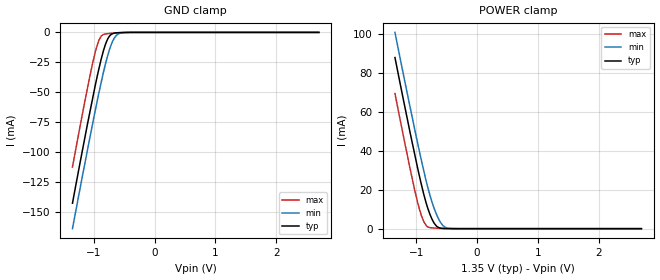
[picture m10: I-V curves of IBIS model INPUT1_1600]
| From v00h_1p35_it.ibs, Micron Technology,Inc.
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| MODEL INPUT1_1600 (Add/Cmd/Ctrl Input Model, 1333/1600Mbps)
[Model]   INPUT1_1600
Model_type   Input
Vinl = 540.000mV
Vinh = 810.000mV
|   typ   min   max
|C_comp   0.450pF   0.375pF   0.525pF
C_comp_power_clamp   0.2250pF   0.1875pF   0.2625pF
C_comp_gnd_clamp   0.2250pF   0.1875pF   0.2625pF
[Model Spec]
| Input threshold voltage corners
Vinl   0.5400V   0.5065V   0.5775V
Vinh   0.8100V   0.7765V   0.8475V
| Dynamic Overshoot Parameters from DDR3L Specification
|D_overshoot_ampl_h   0.40   NA   NA
|D_overshoot_ampl_l   0.40   NA   NA
|D_overshoot_area_h   0.33n   NA   NA
|D_overshoot_area_l   0.33n   NA   NA
[Receiver Thresholds]
Vth   =  0.675V
Vth_min  =  0.6615V
Vth_max  =  0.6885V
Vinh_ac  =  0.135V
Vinh_dc  =  0.090V
Vinl_ac  = -0.135V
Vinl_dc  = -0.090V
Tslew_ac =  5.000ns |Not specified, so set to high value
Threshold_sensitivity = 0.50
Reference_supply Power_clamp_ref
[Voltage Range]   1.3500V   1.2830V   1.4250V
[POWER Clamp Reference]   1.3500V   1.2830V   1.4250V
| Junction Temperature (Ambient temp is 35C typ, 95C min, -40C max)
[Temperature Range]   50.0   110.0   -40.0
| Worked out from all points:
|   GND clamp passes 1 mA (typ) near -0.68 V on its own axis
|   POWER clamp passes 1 mA (typ) near -0.65 V on its own axis
[GND Clamp]
|   Voltage   I(typ)   I(min)   I(max)
-1.35V    -142.4mA   -163.7mA   -112.3mA
-1.19V    -99.33mA   -120.7mA   -68.89mA
-1.035V   -59.16mA   -80.3mA    -29.46mA
-975mV    -44.07mA   -64.98mA   -16.17mA
-920mV    -31.3mA    -51.44mA   -7.011mA
-870mV    -20.74mA   -39.87mA   -2.652mA
-785mV    -7.005mA   -21.91mA   -1.144mA
-710mV    -1.569mA   -9.806mA   -758.3uA
-625mV    -347uA     -2.286mA   -419.7uA
-565mV    -159.7uA   -640.5uA   -246.6uA
-440mV    -35.48uA   -45.18uA   -51.87uA
2.7V      0A         0A         0A
[POWER Clamp]
|   Voltage   I(typ)   I(min)   I(max)
-1.35V    87.75mA    100.7mA    69.3mA
-1.19V    62.83mA    75.76mA    44.18mA
-1.03V    38.76mA    51.6mA     20.36mA
-975mV    30.7mA     43.46mA    13.05mA
-915mV    22.53mA    34.9mA     6.588mA
-835mV    12.9mA     24.2mA     1.55mA
-785mV    8.157mA    18.21mA    624.6uA
-725mV    3.843mA    12.08mA    366.8uA
-665mV    1.21mA     7.141mA    240.2uA
-560mV    111.5uA    1.548mA    102.8uA
-400mV    15.25uA    30.14uA    19.55uA
2.7V      0A         0A         0A
